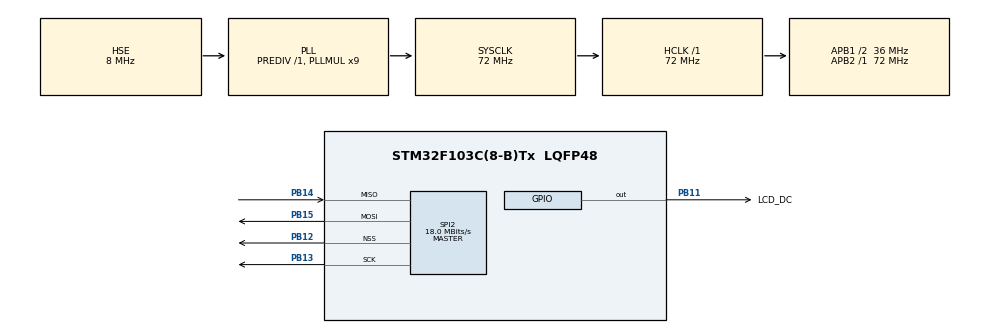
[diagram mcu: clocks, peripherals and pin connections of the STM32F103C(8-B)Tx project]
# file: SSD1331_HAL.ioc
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Mcu.Family=STM32F1
Mcu.Name=STM32F103C(8-B)Tx
Mcu.Package=LQFP48
NVIC.PriorityGroup=NVIC_PRIORITYGROUP_4
NVIC.SPI2_IRQn=true\:0\:0\:false\:false\:true\:true
PA13.Mode=Serial_Wire
PA13.Signal=SYS_JTMS-SWDIO
PA14.Mode=Serial_Wire
PA14.Signal=SYS_JTCK-SWCLK
PB11.GPIO_Label=LCD_DC
PB11.Signal=GPIO_Output
PB12.Mode=NSS_Signal_Hard_Output
PB12.Signal=SPI2_NSS
PB13.Mode=Full_Duplex_Master
PB13.Signal=SPI2_SCK
PB14.GPIO_PuPd=GPIO_PULLUP
PB14.Mode=Full_Duplex_Master
PB14.Signal=SPI2_MISO
PB15.Mode=Full_Duplex_Master
PB15.Signal=SPI2_MOSI
PD0-OSC_IN.Mode=HSE-External-Oscillator
PD0-OSC_IN.Signal=RCC_OSC_IN
PD1-OSC_OUT.Mode=HSE-External-Oscillator
PD1-OSC_OUT.Signal=RCC_OSC_OUT
ProjectManager.HeapSize=0x200
ProjectManager.StackSize=0x400
ProjectManager.TargetToolchain=MDK-ARM V5
RCC.AHBFreq_Value=72000000
RCC.APB1CLKDivider=RCC_HCLK_DIV2
RCC.APB1Freq_Value=36000000
RCC.APB1TimFreq_Value=72000000
RCC.APB2Freq_Value=72000000
RCC.APB2TimFreq_Value=72000000
RCC.HCLKFreq_Value=72000000
RCC.PLLMUL=RCC_PLL_MUL9
RCC.PLLSourceVirtual=RCC_PLLSOURCE_HSE
RCC.SYSCLKFreq_VALUE=72000000
RCC.SYSCLKSource=RCC_SYSCLKSOURCE_PLLCLK
RCC.USBFreq_Value=72000000
SPI2.BaudRatePrescaler=SPI_BAUDRATEPRESCALER_2
SPI2.CalculateBaudRate=18.0 MBits/s
SPI2.Direction=SPI_DIRECTION_2LINES
SPI2.Mode=SPI_MODE_MASTER
SPI2.VirtualNSS=VM_NSSHARD
SPI2.VirtualType=VM_MASTER
board=SSD1331_HAL

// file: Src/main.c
/**
  ******************************************************************************
  * @file           : main.c
  * @brief          : Main program body
  ******************************************************************************
  ** This notice applies to any and all portions of this file
  * that are not between comment pairs USER CODE BEGIN and
  * USER CODE END. Other portions of this file, whether
  * inserted by the user or by software development tools
  * are owned by their respective copyright owners.
  *
  * COPYRIGHT(c) 2018 STMicroelectronics
  *
  * Redistribution and use in source and binary forms, with or without modification,
  * are permitted provided that the following conditions are met:
  *   1. Redistributions of source code must retain the above copyright notice,
  *      this list of conditions and the following disclaimer.
  *   2. Redistributions in binary form must reproduce the above copyright notice,
  *      this list of conditions and the following disclaimer in the documentation
  *      and/or other materials provided with the distribution.
  *   3. Neither the name of STMicroelectronics nor the names of its contributors
  *      may be used to endorse or promote products derived from this software
  *      without specific prior written permission.
  *
  * THIS SOFTWARE IS PROVIDED BY THE COPYRIGHT HOLDERS AND CONTRIBUTORS "AS IS"
  * AND ANY EXPRESS OR IMPLIED WARRANTIES, INCLUDING, BUT NOT LIMITED TO, THE
  * IMPLIED WARRANTIES OF MERCHANTABILITY AND FITNESS FOR A PARTICULAR PURPOSE ARE
  * DISCLAIMED. IN NO EVENT SHALL THE COPYRIGHT HOLDER OR CONTRIBUTORS BE LIABLE
  * FOR ANY DIRECT, INDIRECT, INCIDENTAL, SPECIAL, EXEMPLARY, OR CONSEQUENTIAL
  * DAMAGES (INCLUDING, BUT NOT LIMITED TO, PROCUREMENT OF SUBSTITUTE GOODS OR
  * SERVICES; LOSS OF USE, DATA, OR PROFITS; OR BUSINESS INTERRUPTION) HOWEVER
  * CAUSED AND ON ANY THEORY OF LIABILITY, WHETHER IN CONTRACT, STRICT LIABILITY,
  * OR TORT (INCLUDING NEGLIGENCE OR OTHERWISE) ARISING IN ANY WAY OUT OF THE USE
  * OF THIS SOFTWARE, EVEN IF ADVISED OF THE POSSIBILITY OF SUCH DAMAGE.
  *
  ******************************************************************************
  */
#include "main.h"
#include "stm32f1xx_hal.h"

/* USER CODE BEGIN Includes */
#include "ssd1331.h"

#include "fonts/_images.h"

#include "fonts/Font_3_Tiny.h"
#include "fonts/Font_3_PicoPixel.h"
#include "fonts/Font_3_TomThumb_Extended.h"
#include "fonts/Font_5_Org.h"
#include "fonts/Font_8_Sinclair.h"
#include "fonts/Font_8_Sinclair_Inverted.h"
#include "fonts/Font_8_Tiny.h"
#include "fonts/Font_8_Myke.h"
#include "fonts/Font_8_Default.h"
#include "fonts/Font_8_Retro.h"
#include "fonts/Font_9_Mono.h"
#include "fonts/Font_9_Mono_Bold.h"
#include "fonts/Font_9_Mono_Bold_Oblique.h"
#include "fonts/Font_9_Mono_Oblique.h"
#include "fonts/Font_9_Sans.h"
#include "fonts/Font_9_Sans_Bold.h"
#include "fonts/Font_9_Sans_Bold_Oblique.h"
#include "fonts/Font_9_Sans_Oblique.h"
#include "fonts/Font_9_Serif.h"
#include "fonts/Font_9_Serif_Bold.h"
#include "fonts/Font_9_Serif_Bold_Italic.h"
#include "fonts/Font_9_Serif_Italic.h"
#include "fonts/Font_12_Mono.h"
#include "fonts/Font_12_Mono_Bold.h"
#include "fonts/Font_12_Mono_Bold_Oblique.h"
#include "fonts/Font_12_Mono_Oblique.h"
#include "fonts/Font_12_Sans.h"
#include "fonts/Font_12_Sans_Bold.h"
#include "fonts/Font_12_Sans_Bold_Oblique.h"
#include "fonts/Font_12_Sans_Oblique.h"
#include "fonts/Font_12_Serif.h"
#include "fonts/Font_12_Serif_Bold.h"
#include "fonts/Font_12_Serif_Bold_Italic.h"
#include "fonts/Font_12_Serif_Italic.h"
#include "fonts/Font_16_Arial.h"
#include "fonts/Font_16_Arial_Bold.h"
#include "fonts/Font_16_Arial_Italic.h"
#include "fonts/Font_16_Default.h"
#include "fonts/Font_16_FranklinGothic.h"
#include "fonts/Font_16_Hallfetica.h"
#include "fonts/Font_16_Nadianne.h"
#include "fonts/Font_16_Sinclair.h"
#include "fonts/Font_16_Sinclair_Inverted.h"
#include "fonts/Font_16_Swiss_Outline.h"
#include "fonts/Font_16_Matrix_Full.h"
#include "fonts/Font_16_Matrix_Full_Slash.h"
#include "fonts/Font_16_Matrix_Num.h"
#include "fonts/Font_16_Arial_Round.h"
#include "fonts/Font_16_OCR.h"
#include "fonts/Font_16_Segment_16_Full.h"
#include "fonts/Font_16_Grotesk.h"
#include "fonts/Font_16_Grotesk_Bold.h"
#include "fonts/Font_16_Retro.h"
#include "fonts/Font_18_Mono.h"
#include "fonts/Font_18_Mono_Bold.h"
#include "fonts/Font_18_Mono_Bold_Oblique.h"
#include "fonts/Font_18_Mono_Oblique.h"
#include "fonts/Font_18_Sans.h"
#include "fonts/Font_18_Sans_Bold.h"
#include "fonts/Font_18_Sans_Bold_Oblique.h"
#include "fonts/Font_18_Sans_Oblique.h"
#include "fonts/Font_18_Serif.h"
#include "fonts/Font_18_Serif_Bold.h"
#include "fonts/Font_18_Serif_Bold_Italic.h"
#include "fonts/Font_18_Serif_Italic.h"
#include "fonts/Font_24_Matrix_Num.h"
#include "fonts/Font_24_Inconsola.h"
#include "fonts/Font_24_Ubuntu.h"
#include "fonts/Font_24_Ubuntu_Bold.h"
#include "fonts/Font_24_Segment_16_Full.h"
#include "fonts/Font_24_Mono.h"
#include "fonts/Font_24_Mono_Bold.h"
#include "fonts/Font_24_Mono_Bold_Oblique.h"
#include "fonts/Font_24_Mono_Oblique.h"
#include "fonts/Font_24_Grotesk.h"
#include "fonts/Font_24_Grotesk_Bold.h"
#include "fonts/Font_24_Sans.h"
#include "fonts/Font_24_Sans_Bold.h"
#include "fonts/Font_24_Sans_Bold_Oblique.h"
#include "fonts/Font_24_Sans_Oblique.h"
#include "fonts/Font_24_Serif.h"
#include "fonts/Font_24_Serif_Bold.h"
#include "fonts/Font_24_Serif_Bold_Italic.h"
#include "fonts/Font_24_SerifItalic.h"
#include "fonts/Font_32_Dingbats.h"
#include "fonts/Font_32_Special.h"
#include "fonts/Font_32_Calibri_Bold.h"
#include "fonts/Font_32_Arial_Num_Plus.h"
#include "fonts/Font_32_Matrix_Num.h"
#include "fonts/Font_32_Segment_7_Full.h"
#include "fonts/Font_32_Segment_7_Num_Plus.h"
#include "fonts/Font_32_Segment_16_Full.h"
#include "fonts/Font_32_Segment_18_Full.h"
#include "fonts/Font_32_Grotesk.h"
#include "fonts/Font_32_Grotesk_Bold.h"
#include "fonts/Font_40_Segment_16_Full.h"
#include "fonts/Font_48_Battery.h"
#include "fonts/Font_48_Segment_16_Num.h"
#include "fonts/Font_64_Segment_16_Num.h"
#include "fonts/Font_64_Segment_7_Num.h"
/* USER CODE END Includes */

SPI_HandleTypeDef hspi2;

/* USER CODE BEGIN PV */
/* Private variables ---------------------------------------------------------*/

/* USER CODE END PV */

void SystemClock_Config(void);
static void MX_GPIO_Init(void);
static void MX_SPI2_Init(void);

/* USER CODE BEGIN PFP */
/* Private function prototypes -----------------------------------------------*/

/* USER CODE END PFP */

int main(void)
{

  /* MCU Configuration----------------------------------------------------------*/

  /* Reset of all peripherals, Initializes the Flash interface and the Systick. */
  HAL_Init();

  /* Configure the system clock */
  SystemClock_Config();

  /* Initialize all configured peripherals */
  MX_GPIO_Init();
  MX_SPI2_Init();
  /* USER CODE BEGIN 2 */
	SSD1331_Init();

	HAL_Delay(100);

	LCD_Circle(48, 32, 5, 0, 1, BLUE);
	LCD_Circle(48, 32, 10, 0, 1, YELLOW);
	LCD_Circle(48, 32, 15, 0, 1, BLUE);
	LCD_Circle(48, 32, 20, 0, 1, YELLOW);
	LCD_Circle(48, 32, 25, 0, 1, BLUE);
	LCD_Circle(48, 32, 30, 0, 1, YELLOW);

	HAL_Delay(1000);

	SSD1331_Frame(0, 0, 95, 63, BLUE, BLACK); HAL_Delay(1);

	SSD1331_IMG(IMG0, 0, 0, 96, 64);
	HAL_Delay(1000); SSD1331_Frame(0, 0, 95, 63, BLUE, BLACK); HAL_Delay(1);

	SSD1331_IMG(IMG1, 16,0, 64, 64);
	HAL_Delay(1000); SSD1331_Frame(0, 0, 95, 63, BLUE, BLACK); HAL_Delay(1);

	SSD1331_IMG(IMG3, 32, 16, 32, 32);
	SSD1331_copyWindow(32, 16, 64, 48, 0, 0);
	HAL_Delay(1000); SSD1331_Frame(0, 0, 95, 63, BLUE, BLACK); HAL_Delay(1);

	SSD1331_IMG(IMG2, 23, 7, 50,50);
	SSD1331_setScrolling(Horizontal, 0, 64, 1);
	SSD1331_enableScrolling(1);

	HAL_Delay(1000); SSD1331_Frame(0, 0, 95, 63, BLUE, BLACK); HAL_Delay(1);
	SSD1331_enableScrolling(0);

	LCD_Font(5, 25, "SSD1331", _8_Retro, 1, RED);
	LCD_Font(5, 45, "OLED", _12_Mono, 1, GREEN);
	LCD_Font(10, 60, "0123456", _9_Mono, 1, BLUE);

	HAL_Delay(1000);

	SSD1331_setScrolling(Horizontal, 0, 64, 1);
	SSD1331_enableScrolling(1);

  /* USER CODE END 2 */

  /* Infinite loop */
  while (1)
  {

  }

}

void SystemClock_Config(void)
{

  RCC_OscInitTypeDef RCC_OscInitStruct;
  RCC_ClkInitTypeDef RCC_ClkInitStruct;

    /**Initializes the CPU, AHB and APB busses clocks
    */
  RCC_OscInitStruct.OscillatorType = RCC_OSCILLATORTYPE_HSE;
  RCC_OscInitStruct.HSEState = RCC_HSE_ON;
  RCC_OscInitStruct.HSEPredivValue = RCC_HSE_PREDIV_DIV1;
  RCC_OscInitStruct.HSIState = RCC_HSI_ON;
  RCC_OscInitStruct.PLL.PLLState = RCC_PLL_ON;
  RCC_OscInitStruct.PLL.PLLSource = RCC_PLLSOURCE_HSE;
  RCC_OscInitStruct.PLL.PLLMUL = RCC_PLL_MUL9;
  if (HAL_RCC_OscConfig(&RCC_OscInitStruct) != HAL_OK)
  {
    _Error_Handler(__FILE__, __LINE__);
  }

    /**Initializes the CPU, AHB and APB busses clocks
    */
  RCC_ClkInitStruct.ClockType = RCC_CLOCKTYPE_HCLK|RCC_CLOCKTYPE_SYSCLK
                              |RCC_CLOCKTYPE_PCLK1|RCC_CLOCKTYPE_PCLK2;
  RCC_ClkInitStruct.SYSCLKSource = RCC_SYSCLKSOURCE_PLLCLK;
  RCC_ClkInitStruct.AHBCLKDivider = RCC_SYSCLK_DIV1;
  RCC_ClkInitStruct.APB1CLKDivider = RCC_HCLK_DIV2;
  RCC_ClkInitStruct.APB2CLKDivider = RCC_HCLK_DIV1;

  if (HAL_RCC_ClockConfig(&RCC_ClkInitStruct, FLASH_LATENCY_2) != HAL_OK)
  {
    _Error_Handler(__FILE__, __LINE__);
  }

    /**Configure the Systick interrupt time
    */
  HAL_SYSTICK_Config(HAL_RCC_GetHCLKFreq()/1000);

    /**Configure the Systick
    */
  HAL_SYSTICK_CLKSourceConfig(SYSTICK_CLKSOURCE_HCLK);

  /* SysTick_IRQn interrupt configuration */
  HAL_NVIC_SetPriority(SysTick_IRQn, 0, 0);
}

/* SPI2 init function */
static void MX_SPI2_Init(void)
{

  /* SPI2 parameter configuration*/
  hspi2.Instance = SPI2;
  hspi2.Init.Mode = SPI_MODE_MASTER;
  hspi2.Init.Direction = SPI_DIRECTION_2LINES;
  hspi2.Init.DataSize = SPI_DATASIZE_8BIT;
  hspi2.Init.CLKPolarity = SPI_POLARITY_LOW;
  hspi2.Init.CLKPhase = SPI_PHASE_1EDGE;
  hspi2.Init.NSS = SPI_NSS_HARD_OUTPUT;
  hspi2.Init.BaudRatePrescaler = SPI_BAUDRATEPRESCALER_2;
  hspi2.Init.FirstBit = SPI_FIRSTBIT_MSB;
  hspi2.Init.TIMode = SPI_TIMODE_DISABLE;
  hspi2.Init.CRCCalculation = SPI_CRCCALCULATION_DISABLE;
  hspi2.Init.CRCPolynomial = 10;
  if (HAL_SPI_Init(&hspi2) != HAL_OK)
  {
    _Error_Handler(__FILE__, __LINE__);
  }

}

/** Configure pins as
        * Analog
        * Input
        * Output
        * EVENT_OUT
        * EXTI
*/
static void MX_GPIO_Init(void)
{

  GPIO_InitTypeDef GPIO_InitStruct;

  /* GPIO Ports Clock Enable */
  __HAL_RCC_GPIOD_CLK_ENABLE();
  __HAL_RCC_GPIOB_CLK_ENABLE();
  __HAL_RCC_GPIOA_CLK_ENABLE();

  /*Configure GPIO pin Output Level */
  HAL_GPIO_WritePin(LCD_DC_GPIO_Port, LCD_DC_Pin, GPIO_PIN_RESET);

  /*Configure GPIO pin : LCD_DC_Pin */
  GPIO_InitStruct.Pin = LCD_DC_Pin;
  GPIO_InitStruct.Mode = GPIO_MODE_OUTPUT_PP;
  GPIO_InitStruct.Speed = GPIO_SPEED_FREQ_LOW;
  HAL_GPIO_Init(LCD_DC_GPIO_Port, &GPIO_InitStruct);

}

void _Error_Handler(char *file, int line)
{
  while(1)
  {
  }
}

/************************ (C) COPYRIGHT STMicroelectronics *****END OF FILE****/
